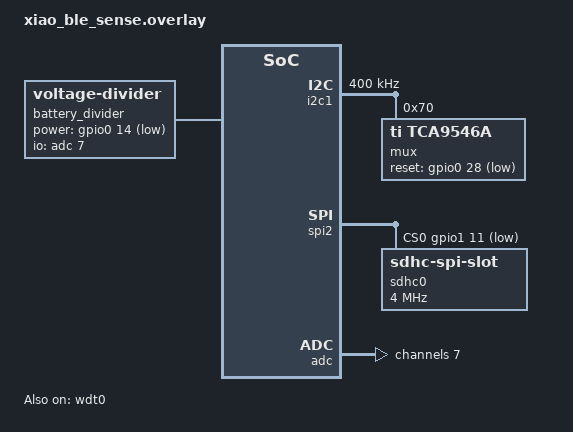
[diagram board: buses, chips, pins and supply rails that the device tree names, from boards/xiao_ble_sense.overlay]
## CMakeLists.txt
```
cmake_minimum_required(VERSION 3.20.0)

# Expose firmware-hub/dts/bindings/ so the maxim,max30102 binding is found.
# Must come before find_package(Zephyr).
list(APPEND DTS_ROOT ${CMAKE_CURRENT_SOURCE_DIR})

find_package(Zephyr REQUIRED HINTS $ENV{ZEPHYR_BASE})
project(physdaq_hub)

target_sources(app PRIVATE
    src/main.c
    src/led.c
    src/imu.c
    src/max30102.c
    src/ppg.c
    src/selftest.c
    src/storage.c
    src/power.c
    src/ble.c
    src/battery.c
    src/contact.c
    src/watchdog.c
    src/crashlog.c
    src/command.c
    src/satellites.c
)
```

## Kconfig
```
mainmenu "PhysDAQ Hub"

source "Kconfig.zephyr"

menu "PhysDAQ Hub"

config PHYSDAQ_PPG_ODR_HZ
	int "PPG sample rate per sensor (Hz)"
	default 100
	help
	  Sample rate programmed into both MAX30102 SPO2_CONFIG registers, and
	  recorded in the log file header so older samples in each FIFO burst
	  can be back-dated offline (see src/storage.h).

	  Only 50, 100, 200 and 400 are accepted. Those are the rates the part
	  permits in SpO2 mode at the 411 us / 18-bit pulse width this firmware
	  uses; other values are rejected at build time. 100 is the rate the
	  single-PPG firmware was validated at — treat anything higher as
	  unproven until a long run confirms the FIFOs keep up.

config PHYSDAQ_SD_SYNC_INTERVAL_MS
	int "Interval between forced filesystem syncs (ms)"
	default 1000
	range 100 10000
	help
	  Upper bound on how much data an ungraceful power loss can cost. The
	  storage thread calls fs_sync() at least this often, so at the default
	  1000 ms and 2 sensors at 100 Hz, a hard power cut loses at most one
	  second of acquisition (~200 samples, 3.2 kB).

	  Lowering this shrinks the loss window but costs an SD FAT+dirent
	  write each time, which is the operation most likely to stall the card
	  for tens of milliseconds.

config PHYSDAQ_DEEP_SLEEP
	bool "Enter deep sleep after an idle timeout"
	default n
	help
	  Single-PPG node behaviour: after PHYSDAQ_IDLE_TIMEOUT_SEC without
	  motion, skin contact or a BLE link, shut the sensors down and enter
	  System Off (~0.4 uA), waking on the IMU activity interrupt.

	  Off by default on the hub. A hub records unattended to microSD and is
	  routinely stationary and unworn on a bench, which is exactly the state
	  the idle timer treats as "put down" — it would power the node off
	  mid-session. Idle accounting still runs and is still reported on the
	  status line when this is disabled; only the System Off is suppressed.

config PHYSDAQ_IDLE_TIMEOUT_SEC
	int "Seconds of inactivity before deep sleep"
	default 10
	range 5 300
	help
	  Only acts when PHYSDAQ_DEEP_SLEEP is enabled. Counts consecutive
	  seconds without gyroscope motion, without IR contact (src/contact.c)
	  and without a BLE link — worn but still (e.g. resting) does not
	  trigger sleep, only set down and unworn does. Wake-up is the
	  LSM6DS3TR-C activity interrupt on INT1.

endmenu
```

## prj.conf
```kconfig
CONFIG_GPIO=y
CONFIG_SERIAL=y
CONFIG_UART_CONSOLE=y

CONFIG_I2C=y
CONFIG_SENSOR=y
CONFIG_LSM6DSL=y

# PCA9546A I2C mux on the upstream bus. Both MAX30102 are strapped to 0x57
# and cannot be readdressed, so each lives behind its own mux channel.
# The driver serialises (channel select + transfer) under its own mutex —
# see i2c_tca954x.c:tca954x_transfer(). Do not add a second lock on top.
CONFIG_I2C_TCA954X=y
# Both of these default to I2C_INIT_PRIORITY (50) in Zephyr 3.6, while
# i2c_tca954x.c carries a BUILD_ASSERT demanding CHANNEL > ROOT strictly. The
# upstream defaults therefore cannot compile as shipped, and every user has to
# separate them by hand. Root first, then the channels that depend on it.
CONFIG_I2C_TCA954X_ROOT_INIT_PRIO=50
CONFIG_I2C_TCA954X_CHANNEL_INIT_PRIO=51

# ── microSD (SPI) ────────────────────────────────────────────────────────
# SPI_SDHC is `default y` once the zephyr,sdhc-spi-slot node is enabled, and
# DISK_DRIVER_SDMMC is `default y` once zephyr,sdmmc-disk is; both are listed
# explicitly so a devicetree mistake fails the build instead of silently
# dropping storage.
CONFIG_SPI=y
CONFIG_SDHC=y
CONFIG_DISK_DRIVERS=y
CONFIG_DISK_DRIVER_SDMMC=y
CONFIG_FILE_SYSTEM=y
CONFIG_FAT_FILESYSTEM_ELM=y
CONFIG_FS_FATFS_LFN=y

# ── SD bring-up diagnostics — REMOVE once the card mounts reliably ───────
# disk_access_init() only reports a single errno. -EFAULT in particular comes
# from sdhc_spi.c:249 and means the card DID answer, with an R1 byte carrying
# PARAMETER_ERR or ADDRESS_ERR — so the link works and a specific command is
# being rejected. Which command, and the actual R1 value, only exist inside the
# driver's log calls.
# LOG_MODE_MINIMAL prints synchronously with no log thread or buffers, so
# nothing is lost when init fails early or the console is still enumerating.
CONFIG_LOG=y
CONFIG_LOG_MODE_MINIMAL=y
CONFIG_SDHC_LOG_LEVEL_DBG=y
CONFIG_SD_LOG_LEVEL_DBG=y

# ── Downlink command channel ─────────────────────────────────────────────
# The host sends "CMD ..." lines over the BLE RX characteristic (handled in
# ble.c) and over the USB console. The console needs an input path, which a
# printk-only build does not have: CONSOLE_GETLINE gives one, on the same CDC
# ACM device the diagnostics already print to.
CONFIG_CONSOLE_SUBSYS=y
CONFIG_CONSOLE_GETCHAR=y

# base64 for file download, CRC32 to verify what arrived.
CONFIG_BASE64=y

# ── Satellite roster persistence ─────────────────────────────────────────
# NVS on the board's storage_partition — 32 kB at 0xEC000, which
# xiao_ble_common.dtsi reserves for exactly this and which is clear of both the
# code partition and the UF2 bootloader.
CONFIG_FLASH=y
CONFIG_FLASH_MAP=y
CONFIG_FLASH_PAGE_LAYOUT=y
CONFIG_NVS=y

# ── PhysDAQ Hub ──────────────────────────────────────────────────────────
# PPG sample rate per sensor, written to SPO2_CONFIG and recorded in the log
# header. 100 Hz is the rate the single-PPG firmware was validated at.
CONFIG_PHYSDAQ_PPG_ODR_HZ=100

# Bound on data lost to an ungraceful power cut: at 1000 ms and 2 sensors at
# 100 Hz that is at most ~200 samples (3.2 kB).
CONFIG_PHYSDAQ_SD_SYNC_INTERVAL_MS=1000

# Deep sleep stays OFF on the hub. A hub records unattended and is routinely
# stationary and unworn on a bench — precisely the state the idle timer reads
# as "put down" — so System Off would cut a recording short. Idle accounting
# still runs and still appears on the status line.
CONFIG_PHYSDAQ_DEEP_SLEEP=n
CONFIG_PHYSDAQ_IDLE_TIMEOUT_SEC=10

# VBAT sense (P0.31/AIN7, gated by P0.14) — battery percentage status
CONFIG_ADC=y

# Hardware watchdog — auto-reset the SoC if the main loop hangs (e.g. a wedged
# I2C bus). Fed from the supervisor loop in src/main.c.
CONFIG_WATCHDOG=y
# crashlog.c overrides the fatal-error handler to record the fault in noinit
# RAM and reboot, instead of Zephyr's default halt-with-interrupts-locked that
# leaves the crash invisible and the watchdog to clean up 8 s later.
CONFIG_REBOOT=y
CONFIG_THREAD_NAME=y

# ── Threads and buffers ──────────────────────────────────────────────────
# One acquisition thread per PPG plus a storage thread. FATFS and the SD stack
# are stack-hungry, so the storage thread gets the largest allocation; its size
# is set in src/storage.c.
CONFIG_MAIN_STACK_SIZE=2048
CONFIG_SYSTEM_WORKQUEUE_STACK_SIZE=2048

# ── BLE ──────────────────────────────────────────────────────────────────
# NUS-compatible GATT service for wireless data streaming
# NUS service is implemented directly in src/ble.c using raw GATT macros
# (no CONFIG_BT_NUS dependency — that is NCS-only, not plain Zephyr).
CONFIG_BT=y
CONFIG_BT_PERIPHERAL=y
CONFIG_BT_DEVICE_NAME="PhysDAQ-Hub"
CONFIG_BT_MAX_CONN=1
# Every unit used to advertise the identical name, so a scan could not tell
# two nodes apart. ble.c appends a per-chip suffix at boot, which needs the
# name to be writable at runtime (DYNAMIC) and HWINFO for the factory device
# ID. The name is derived, not stored — no NVS is configured on this board.
CONFIG_BT_DEVICE_NAME_DYNAMIC=y
CONFIG_BT_DEVICE_NAME_MAX=24
CONFIG_HWINFO=y
# Allow MTU negotiation up to 247 bytes so a full data line fits in one notify.
# BT_GATT_CLIENT enables bt_gatt_exchange_mtu() — needed even on a peripheral.
CONFIG_BT_GATT_CLIENT=y
CONFIG_BT_L2CAP_TX_MTU=247
CONFIG_BT_BUF_ACL_TX_SIZE=251
CONFIG_BT_BUF_ACL_RX_SIZE=251
# The host buffers above are 251 B, but the *controller* defaults to 27 B LL
# packets, so every ~120 B line went out as five link-layer packets and
# saturated the link at Windows' 30 ms interval (lines dropped by ble_send).
# Data Length Extension lets one line ride in one packet.
CONFIG_BT_CTLR_DATA_LENGTH_MAX=251
# Deeper TX pools (default 3 each).
CONFIG_BT_BUF_ACL_TX_COUNT=6
CONFIG_BT_L2CAP_TX_BUF_COUNT=6
CONFIG_BT_CONN_TX_MAX=6
CONFIG_BT_ATT_TX_COUNT=6

# Radio TX power: +8 dBm (default is 0). A worn node's antenna is shadowed by
# the body, and 2.4 GHz body attenuation is severe — link fades were throttling
# throughput (visible as a slowdown in the app) and then tripping the
# supervision timeout. The extra margin rides through most fades.
CONFIG_BT_CTLR_TX_PWR_PLUS_8=y

# Preferred connection parameters, requested from the central ~5 s after
# connect (BT_GAP_AUTO_UPDATE_CONN_PARAMS). Windows' defaults pair a lazy
# interval with a ~2 s supervision timeout; we ask for a short interval
# (15–30 ms, headroom for ~25 Hz of ~120 B lines) and a 5 s timeout so a brief
# fade degrades throughput instead of killing the link. Best-effort — the
# central may reject.
#
# DISABLED, as on the node: the update was followed within a second by a
# crash on Windows every time. Left off until the failure is understood.
CONFIG_BT_GAP_AUTO_UPDATE_CONN_PARAMS=n
CONFIG_BT_PERIPHERAL_PREF_MIN_INT=12
CONFIG_BT_PERIPHERAL_PREF_MAX_INT=24
CONFIG_BT_PERIPHERAL_PREF_LATENCY=0
CONFIG_BT_PERIPHERAL_PREF_TIMEOUT=500
```

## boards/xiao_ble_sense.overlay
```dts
/*
 * XIAO BLE Sense overlay — PhysDAQ Hub (dual PPG + microSD)
 *
 * I2C0 @ 0x6A : LSM6DS3TR-C IMU   (internal bus, pinctrl SDA=P0.07, SCL=P0.27)
 * I2C1        : upstream bus      (D4/P0.04 SDA, D5/P0.05 SCL) -> PCA9546A @ 0x70
 *   ch1 @ 0x57 : MAX30102 #1,  INT -> D1 / P0.03   (pads labelled "2")
 *   ch2 @ 0x57 : MAX30102 #2,  INT -> D0 / P0.02   (pads labelled "3")
 * SPI2        : microSD BFF       (D8 SCK, D9 MISO, D10 MOSI, D6 CS)
 *
 * Bus instance note: the hand-off report states TWIM1 is the internal IMU bus
 * and TWIM0 is exposed on D4/D5. On this board it is the other way round —
 * xiao_ble-pinctrl.dtsi maps i2c0 to P0.07/P0.27 (where xiao_ble_sense.dts
 * places the LSM6DS3TR-C) and i2c1 to P0.04/P0.05, and the connector aliases
 * i2c1 as `xiao_i2c`. The physical pins in the report's pin map are correct;
 * only the peripheral label was swapped, so the mux goes on i2c1.
 *
 * Both MAX30102 are strapped to 0x57 and cannot be readdressed — that is the
 * entire reason the mux exists. Their INT lines bypass the mux and land on
 * plain GPIOs, so a sample-ready event can be timestamped the instant it fires
 * regardless of which channel is currently selected. Do not route them through
 * the mux.
 *
 * LED0 (P0.26 red), LED1 (P0.30 green), LED2 (P0.06 blue) come from
 * xiao_ble_common.dtsi and are not redefined here.
 */

#include <zephyr/dt-bindings/gpio/gpio.h>
#include <zephyr/dt-bindings/i2c/i2c.h>
#include <zephyr/dt-bindings/adc/adc.h>
#include <zephyr/dt-bindings/adc/nrf-adc.h>

/*
 * uart0 claims P1.11 (TX) and P1.12 (RX) in xiao_ble-pinctrl.dtsi, and P1.11
 * is now the microSD chip select. Two peripherals driving one pad is a silent
 * failure, so uart0 must release it. Nothing is lost: the console is the USB
 * CDC ACM port (zephyr,console in xiao_ble_common.dtsi), not this UART.
 */
&uart0 {
	status = "disabled";
};

/*
 * Upstream I2C. Raised to fast mode (400 kHz): every transaction now costs an
 * extra mux channel-select write, and two sensors share the bus, so the
 * standard-mode budget of the single-sensor firmware no longer holds.
 */
&i2c1 {
	status = "okay";
	clock-frequency = <I2C_BITRATE_FAST>;

	mux: tca9546a@70 {
		compatible = "ti,tca9546a";
		reg = <0x70>;
		#address-cells = <1>;
		#size-cells = <0>;
		reset-gpios = <&gpio0 28 GPIO_ACTIVE_LOW>;   /* D2 / P0.28 */
		status = "okay";

		/*
		 * Channel INDICES 1 and 2 are the populated ones. Channels 0
		 * and 3 are unused and left floating — no nodes.
		 *
		 * These are NOT the numbers on the breakout's silk screen. The
		 * hand-off report's section 4 says the sensors are on channels
		 * 2 and 3 because that is how the pads are labelled, but this
		 * board numbers its pads 1-4 while the part numbers its
		 * channels 0-3 — so the pads marked "SD2/SC2" and "SD3/SC3"
		 * are really indices 1 and 2. Measured, not assumed: the boot
		 * self-test walks all four channels and reports which ones
		 * answer at 0x57. Trust that output over the silk screen.
		 *
		 * The channel index is the `reg` value; i2c_tca954x.c converts
		 * it to the control-register bit with BIT(DT_REG_ADDR(node)),
		 * so reg = <1> selects 0x02 and reg = <2> selects 0x04.
		 */

		mux_ch1: tca9546a_ch1@1 {
			compatible = "ti,tca9546a-channel";
			reg = <1>;                 /* pads silkscreened "2" */
			#address-cells = <1>;
			#size-cells = <0>;
			status = "okay";

			ppg0: max30102@57 {
				compatible = "maxim,max30102";
				reg = <0x57>;
				/* P0.03 / D1, not P0.02: the boot self-test
				 * enables this channel's sensor alone and
				 * watches which line falls, and it is this
				 * one. The INT wiring is independent of the
				 * mux channel, so the pairing has to be
				 * measured — pairing it wrong still acquires
				 * cleanly, with every timestamp on the wrong
				 * site. */
				int-gpios = <&gpio0 3 (GPIO_ACTIVE_LOW | GPIO_PULL_UP)>;
				status = "okay";
			};
		};

		mux_ch2: tca9546a_ch2@2 {
			compatible = "ti,tca9546a-channel";
			reg = <2>;                 /* pads silkscreened "3" */
			#address-cells = <1>;
			#size-cells = <0>;
			status = "okay";

			ppg1: max30102@57 {
				compatible = "maxim,max30102";
				reg = <0x57>;
				int-gpios = <&gpio0 2 (GPIO_ACTIVE_LOW | GPIO_PULL_UP)>;
				status = "okay";
			};
		};
	};
};

/*
 * microSD BFF on SPI2. The board declares spi2 as "nordic,nrf-spi" (no
 * EasyDMA), which would service a 512-byte block one byte-interrupt at a time
 * and contend with the two PPG interrupts we are trying to timestamp
 * precisely. Overridden to "nordic,nrf-spim" so block transfers run from DMA.
 *
 * 4 MHz per the bring-up plan — the BFF is wired with discrete jumpers, which
 * is the least reliable part of this build. Raise only once the link is proven
 * stable over a long run.
 */
&spi2 {
	compatible = "nordic,nrf-spim";
	status = "okay";
	cs-gpios = <&gpio1 11 GPIO_ACTIVE_LOW>;   /* D6 / P1.11 */

	sdhc0: sdhc@0 {
		compatible = "zephyr,sdhc-spi-slot";
		reg = <0>;
		status = "okay";
		spi-max-frequency = <4000000>;

		/* No disk-name property here: zephyr,sdmmc-disk does not define
		 * one in Zephyr 3.6 (it includes sd-device.yaml -> base.yaml
		 * only). The volume name comes from CONFIG_SDMMC_VOLUME_NAME,
		 * which already defaults to "SD" when FAT_FILESYSTEM_ELM is on. */
		mmc {
			compatible = "zephyr,sdmmc-disk";
			status = "okay";
		};
	};
};

/*
 * VBAT sense circuit (Seeed XIAO nRF52840 Sense hardware, not in the
 * connector pin map): 1M / 510k divider to AIN7 (P0.31), gated by the
 * active-low P0.14 read-enable pin. P0.14 LOW connects the divider; HIGH
 * disconnects it. The pin is therefore driven LOW only while sampling and
 * left HIGH the rest of the time, so the divider does not draw its ~2 uA
 * continuously. GPIO_ACTIVE_LOW below is what makes battery.c's logical
 * "1 = sampling" come out as a physical LOW.
 */
/ {
	battery_divider: battery-divider {
		compatible = "voltage-divider";
		io-channels = <&adc 7>;
		output-ohms = <510000>;
		full-ohms = <(1000000 + 510000)>;
		power-gpios = <&gpio0 14 GPIO_ACTIVE_LOW>;
	};
};

/* Hardware watchdog — last-resort recovery if the main loop ever hangs
 * (see src/watchdog.c). Usually already enabled on nRF52840, but make it
 * explicit so the build never silently drops the WDT. */
&wdt0 {
	status = "okay";
};

&adc {
	#address-cells = <1>;
	#size-cells = <0>;

	channel@7 {
		reg = <7>;
		zephyr,gain = "ADC_GAIN_1_6";
		zephyr,reference = "ADC_REF_INTERNAL";
		zephyr,acquisition-time = <ADC_ACQ_TIME_DEFAULT>;
		zephyr,input-positive = <NRF_SAADC_AIN7>;
		zephyr,resolution = <12>;
	};
};
```

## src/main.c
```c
#include <zephyr/kernel.h>
#include <zephyr/sys/printk.h>
#include <zephyr/drivers/sensor.h>
#include "imu.h"
#include "ppg.h"
#include "storage.h"
#include "power.h"
#include "ble.h"
#include "battery.h"
#include "contact.h"
#include "watchdog.h"
#include "selftest.h"
#include "version.h"
#include "command.h"
#include "satellites.h"
#include "crashlog.h"

/* Format a sensor_value (val1 + val2/1e6) as "±integer.milli" using printk.
 * Mirrors the print_val helper in imu.c, kept local to avoid coupling. */
#define SV_SIGN(v)  (((v)->val1 < 0 || (v)->val2 < 0) ? "-" : "")
#define SV_INT(v)   ((v)->val1 < 0 ? -(v)->val1 : (v)->val1)
#define SV_MILLI(v) (((v)->val2 < 0 ? -(v)->val2 : (v)->val2) / 1000)

/* Supervisor cadence. Acquisition and storage run on their own threads now, so
 * this loop only has to service the things that are inherently periodic: the
 * watchdog, the IMU, the BLE stream and the status lines. 40 ms lands it on
 * the same ~25 Hz the BLE link is rate-limited to. */
#define SUPERVISOR_PERIOD_MS  40
#define HUB_STATUS_INTERVAL_MS  5000

/* How often to re-run the bus diagnostics while nothing is acquiring.
 *
 * The console is a USB CDC ACM port, so it does not exist yet while the board
 * is booting — by the time a terminal can attach, the boot output is long
 * gone. That makes a once-at-boot diagnostic useless in exactly the situation
 * it was written for. Repeating it while the board is broken means you can
 * attach whenever and still get the verdict. */
#define DIAG_INTERVAL_MS  10000

/* Set once acquisition threads are running — used only for the uptime display. */
static int64_t acq_start_ms;

/*
 * Per-sensor rate in tenths of a hertz, measured over the last status interval
 * rather than since acquisition began.
 *
 * A since-start average is contaminated by a fixed head start: each sensor's
 * 32-deep FIFO is already filling while the *other* sensor's init runs, and a
 * failing init burns hundreds of milliseconds of retries. That showed up as a
 * rate reading a few percent high and slowly decaying, which looks exactly
 * like a real drift and is not one. A windowed rate has no such offset, and it
 * also surfaces a sensor that degrades mid-session — which a since-start
 * average would bury under all the healthy minutes before it.
 *
 * This is the number that says whether a sensor runs at the configured ODR.
 * "It produces samples" is not "it produces them at 100 Hz", and a low rate is
 * sample loss even when the overflow counter is clean.
 */
static uint32_t windowed_dhz(uint8_t idx, uint32_t samples, int64_t now_ms)
{
	static uint32_t prev_samples[PPG_SENSOR_COUNT];
	static int64_t  prev_ms[PPG_SENSOR_COUNT];

	if (idx >= PPG_SENSOR_COUNT) {
		return 0;
	}

	int64_t  dt = now_ms - prev_ms[idx];
	uint32_t dn = samples - prev_samples[idx];   /* wraps correctly */

	prev_samples[idx] = samples;
	prev_ms[idx]      = now_ms;

	if (dt < 1000) {
		return 0;   /* window too short to mean anything */
	}
	return (uint32_t)(((uint64_t)dn * 10000) / (uint64_t)dt);
}

static void send_hub_status(void)
{
	struct ppg_live      s0, s1;
	struct storage_stats st;

	ppg_get_live(0, &s0);
	ppg_get_live(1, &s1);
	storage_get_stats(&st);

	int64_t  now_ms = k_uptime_get();
	uint32_t d0 = windowed_dhz(0, s0.samples, now_ms);
	uint32_t d1 = windowed_dhz(1, s1.samples, now_ms);
	uint32_t up_s = (uint32_t)((now_ms - acq_start_ms) / 1000);

	/* Deliberately does NOT start with "PPG". bridge.py matches the sample
	 * line with re.search(r'PPG\s+red=...') and silently discards any other
	 * line beginning with those three characters, so a status line prefixed
	 * "PPG..." would vanish without trace. The same rule governs every
	 * reply in command.c. */
	/* 256, not 224: `open=` and `sat=n/N` were added after the original
	 * sizing and the line was already close to full. */
	char line[256];
	int n = snprintk(line, sizeof(line),
		"Hub: up=%us | s0 %s n=%u %u.%uHz ovf=%u ri=%u ir=%u | "
		"s1 %s n=%u %u.%uHz ovf=%u ri=%u ir=%u | "
		"sd sess=%u open=%u w=%u drop=%u sync=%u err=%u qmax=%u "
		"sat=%u/%u\n",
		up_s,
		s0.alive ? "ok" : "DEAD", s0.samples, d0 / 10, d0 % 10,
		s0.overflows, s0.reinits, s0.ir,
		s1.alive ? "ok" : "DEAD", s1.samples, d1 / 10, d1 % 10,
		s1.overflows, s1.reinits, s1.ir,
		st.session_id, storage_session_is_open() ? 1U : 0U,
		st.records_written, st.records_dropped,
		st.syncs, st.write_errors, st.max_queue_used,
		satellites_count(), SATELLITES_MAX);

	printk("%s", line);
	ble_send((const uint8_t *)line, n);
}

int main(void)
{
	/* Before anything else: captures the previous boot's crash/hang record
	 * and the reset cause while nothing has had a chance to clobber them. */
	crashlog_init();

	/* Bus self-test first, before anything that depends on the bus. On a
	 * hand-wired prototype the difference between "the mux is missing" and
	 * "the sensor behind the mux is missing" is the difference between two
	 * completely different repairs, and an -EIO out of max30102_init()
	 * cannot tell them apart. */
	selftest_run();

	if (imu_init() < 0) {
		printk("IMU init failed — continuing without motion data\n");
	}

	/* Storage first: it anchors the session clock, and the acquisition
	 * threads read that epoch once when they start. Starting them earlier
	 * would date every record against an epoch of zero. */
	bool logging = (storage_init() == 0);

	if (!logging) {
		printk("Storage init failed — acquisition will run but NOTHING "
		       "WILL BE RECORDED. Check the card and reboot.\n");
	}

	bool acquiring = (ppg_init() == 0);

	acq_start_ms = k_uptime_get();

	if (!acquiring) {
		/* Deliberately not a halt. The single-PPG firmware returned
		 * here, which kills the console output too — on a prototype
		 * being wired up, staying alive so the self-test result and the
		 * periodic status line stay readable is worth far more than
		 * exiting cleanly. */
		printk("No PPG sensor available — staying up so the self-test "
		       "output above remains readable. Fix the wiring and "
		       "reset.\n");
	}

	if (battery_init() < 0) {
		printk("Battery ADC init failed — continuing without battery "
		       "status\n");
	}

	contact_init();
	power_init();

	if (ble_init() < 0) {
		printk("BLE init failed — running USB-only\n");
	}

	/* Roster before the command thread, so a "sat.list" arriving in the
	 * first milliseconds answers with what is actually stored rather than
	 * with an empty list. A failure here is not fatal: the roster still
	 * works for this boot, it just will not survive a reset. */
	if (satellites_init() < 0) {
		printk("Satellites: roster will not persist across reboots\n");
	}

	command_init();

	/* Arm the watchdog only after all (potentially slow) init has finished,
	 * so init delays can never trip it. From here on, this loop must feed
	 * it. Note the scope change from the single-PPG firmware: the watchdog
	 * now guards the supervisor, not acquisition. A wedged sensor is
	 * handled by the per-sensor stall recovery in ppg.c, which is the right
	 * place for it — resetting the whole SoC would close the session file. */
	watchdog_init();

	printk("\n=== PhysDAQ Hub: dual PPG + microSD ===\n");
	/* Mux channels 1 and 2, which the breakout silk-screens "2" and "3".
	 * The banner used the silk-screen numbers; every other message and all
	 * of the docs use the channel indices, so it read as a third pair. */
	printk("PPG: 2× MAX30102 behind PCA9546A ch1/ch2, SpO2 %d Hz, 18-bit\n",
	       CONFIG_PHYSDAQ_PPG_ODR_HZ);
	printk("IMU: accel [m/s^2], gyro [rad/s]\n");
	printk("Time base: k_uptime_ticks() @ %d Hz (%d us), captured in ISR\n",
	       CONFIG_SYS_CLOCK_TICKS_PER_SEC,
	       1000000 / CONFIG_SYS_CLOCK_TICKS_PER_SEC);
	printk("Storage: %s\n", logging ? "active" : "UNAVAILABLE");
	printk("BLE: NUS advertising\n");
	printk("Deep sleep: %s\n",
	       IS_ENABLED(CONFIG_PHYSDAQ_DEEP_SLEEP) ? "enabled" : "disabled");
	printk("\n");

	command_send_identity();

	int64_t last_status_ms = k_uptime_get();
	int64_t last_diag_ms   = k_uptime_get();

	while (1) {
		/* Feed the watchdog once per iteration. The loop turns over
		 * every SUPERVISOR_PERIOD_MS, so if anything below hangs the
		 * feeds stop and the SoC resets itself within the WDT window
		 * instead of freezing indefinitely. */
		watchdog_feed();

		/* Rising edge of the BLE link: a central that just connected
		 * has not seen the boot copy of the identity line. */
		static bool was_linked;
		bool linked = ble_is_connected();
		if (linked && !was_linked) {
			command_send_identity();
		}
		was_linked = linked;

		struct imu_sample imu;
		bool have_imu = (imu_fetch_sample(&imu) == 0);

		struct ppg_live s0, s1;
		ppg_get_live(0, &s0);
		ppg_get_live(1, &s1);

		if (have_imu) {
			/* The single-PPG line format, extended with a
			 * "| PPG1 red=… ir=…" section for sensor 1.
			 *
			 * Deliberately one line, not two. bridge.py matches the
			 * sample with re.search(r'PPG\s+red=…'), so this
			 * still matches on sensor 0 and an un-updated bridge
			 * keeps working — while a *separate* line beginning
			 * "PPG1" would be silently discarded by the same code
			 * path, which drops any unmatched line starting with
			 * "PPG". Keeping both sensors in one message also gives
			 * the pair a single arrival timestamp, so the host
			 * cannot desynchronise the two channels.
			 *
			 * 192 bytes, not 160: the PPG1 section adds up to ~28 B
			 * and the old buffer left no room for it. */
			char line[192];
			int n = snprintk(line, sizeof(line),
				"PPG red=%u ir=%u | PPG1 red=%u ir=%u | IMU "
				"ax=%s%d.%03d ay=%s%d.%03d az=%s%d.%03d "
				"gx=%s%d.%03d gy=%s%d.%03d gz=%s%d.%03d\n",
				s0.red, s0.ir, s1.red, s1.ir,
				SV_SIGN(&imu.accel[0]), SV_INT(&imu.accel[0]), SV_MILLI(&imu.accel[0]),
				SV_SIGN(&imu.accel[1]), SV_INT(&imu.accel[1]), SV_MILLI(&imu.accel[1]),
				SV_SIGN(&imu.accel[2]), SV_INT(&imu.accel[2]), SV_MILLI(&imu.accel[2]),
				SV_SIGN(&imu.gyro[0]),  SV_INT(&imu.gyro[0]),  SV_MILLI(&imu.gyro[0]),
				SV_SIGN(&imu.gyro[1]),  SV_INT(&imu.gyro[1]),  SV_MILLI(&imu.gyro[1]),
				SV_SIGN(&imu.gyro[2]),  SV_INT(&imu.gyro[2]),  SV_MILLI(&imu.gyro[2]));

			/* One notification per loop, i.e. ~25 Hz. The link
			 * carries ~4 kB/s; the raw 100 Hz × 2 sensor stream
			 * would be several times that and would overflow the TX
			 * queue. The SD file is the record of truth — BLE is
			 * only a live view. */
			ble_send((const uint8_t *)line, n);

			contact_update(s0.ir);
			power_update(imu.gyro);
		}

		/* Internally rate-limited to once every 5 s — cheap to call
		 * every iteration. */
		uint8_t batt_pct;
		int32_t batt_mv;
		if (battery_poll(&batt_pct, &batt_mv) == 0) {
			char batt_line[48];
			int batt_n = snprintk(batt_line, sizeof(batt_line),
				"Battery: %u%% (%d mV)\n", batt_pct, batt_mv);
			printk("%s", batt_line);
			ble_send((const uint8_t *)batt_line, batt_n);
		}

		int64_t now = k_uptime_get();
		if (now - last_status_ms >= HUB_STATUS_INTERVAL_MS) {
			last_status_ms = now;
			send_hub_status();
		}

		/* While nothing is acquiring, keep re-running the diagnostics
		 * so they are readable whenever a terminal attaches.
		 *
		 * Gated strictly on `acquiring`, which is false only when
		 * ppg_init() started no threads at all. That matters: the
		 * self-test writes the mux control register directly, behind
		 * the tca954x driver's back, and doing that while an
		 * acquisition thread is mid-transfer would corrupt it. With no
		 * threads running, the bus is ours alone. */
		if (!acquiring && now - last_diag_ms >= DIAG_INTERVAL_MS) {
			last_diag_ms = now;

			if (!logging) {
				printk("\nStorage: still unavailable "
				       "(last error %d)\n",
				       storage_last_error());
			}
			selftest_run();
		}

		k_sleep(K_MSEC(SUPERVISOR_PERIOD_MS));
	}

	return 0;
}
```

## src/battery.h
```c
#ifndef BATTERY_H
#define BATTERY_H

#include <stdint.h>

/* Configure the VBAT ADC channel (AIN7) and the read-enable GPIO (P0.14).
 * Returns 0 on success, negative errno on failure. */
int battery_init(void);

/* Rate-limited battery sample: internally samples VBAT at most once every
 * 5 s, toggling the P0.14 read-enable gate only for the duration of the
 * read (leaving it enabled drains the battery — see Seeed forum report of
 * increased sleep current).
 * On a fresh sample, fills *out_percent and *out_mv and returns 0.
 * Returns -EAGAIN if the interval hasn't elapsed yet, or a negative errno
 * on ADC failure. */
int battery_poll(uint8_t *out_percent, int32_t *out_mv);

#endif /* BATTERY_H */
```

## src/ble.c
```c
#include <zephyr/kernel.h>
#include <zephyr/bluetooth/bluetooth.h>
#include <zephyr/bluetooth/conn.h>
#include <zephyr/bluetooth/uuid.h>
#include <zephyr/bluetooth/gatt.h>
#include <zephyr/sys/util.h>
#include <zephyr/sys/printk.h>
#include <zephyr/drivers/hwinfo.h>
#include <string.h>
#include "ble.h"
#include "ppg.h"
#include "command.h"

/* NUS-compatible UUIDs — identical to Nordic UART Service, so any NUS
 * client (bleak, nRF Connect app) works without any extra configuration. */
#define BT_UUID_NUS_SERVICE_VAL \
	BT_UUID_128_ENCODE(0x6e400001, 0xb5a3, 0xf393, 0xe0a9, 0xe50e24dcca9e)
#define BT_UUID_NUS_TX_VAL \
	BT_UUID_128_ENCODE(0x6e400003, 0xb5a3, 0xf393, 0xe0a9, 0xe50e24dcca9e)
#define BT_UUID_NUS_RX_VAL \
	BT_UUID_128_ENCODE(0x6e400002, 0xb5a3, 0xf393, 0xe0a9, 0xe50e24dcca9e)

#define BT_UUID_NUS_SERVICE BT_UUID_DECLARE_128(BT_UUID_NUS_SERVICE_VAL)
#define BT_UUID_NUS_TX      BT_UUID_DECLARE_128(BT_UUID_NUS_TX_VAL)
#define BT_UUID_NUS_RX      BT_UUID_DECLARE_128(BT_UUID_NUS_RX_VAL)

/* One queued line is at most a full sample line (main.c formats into 160 B).
 * Depth: at ~25 Hz a line every 40 ms, 16 slots is ~0.6 s of back-pressure
 * before lines start being dropped — enough to ride through a short fade
 * without growing an unbounded backlog of stale samples. */
#define TX_MSG_MAX       160
#define TX_QUEUE_DEPTH   16
#define TX_THREAD_STACK  2048
/* Below main (0): the acquisition loop always wins the CPU. */
#define TX_THREAD_PRIO   7

struct tx_msg {
	uint16_t len;
	uint8_t  data[TX_MSG_MAX];
};

K_MSGQ_DEFINE(tx_q, sizeof(struct tx_msg), TX_QUEUE_DEPTH, 4);


static struct bt_conn              *current_conn;
static bool                         notify_enabled;
static struct bt_gatt_exchange_params mtu_params;

static void tx_ccc_changed(const struct bt_gatt_attr *attr, uint16_t value)
{
	notify_enabled = (value == BT_GATT_CCC_NOTIFY);
}

static ssize_t on_rx_write(struct bt_conn *conn,
			   const struct bt_gatt_attr *attr,
			   const void *buf, uint16_t len,
			   uint16_t offset, uint8_t flags)
{
	ARG_UNUSED(conn); ARG_UNUSED(attr);
	ARG_UNUSED(offset); ARG_UNUSED(flags);

	/* Hand the bytes straight to the command module, which assembles lines
	 * and queues complete ones. Nothing here parses or touches the file
	 * system: this runs in the BLE stack's context, where blocking on a
	 * card doing wear-levelling would stall the radio. */
	command_feed((const uint8_t *)buf, len);
	return len;
}

/* GATT service attribute table.  Indices matter for ble_send():
 * [0] Primary service
 * [1] TX characteristic declaration
 * [2] TX characteristic value  ← bt_gatt_notify() target
 * [3] TX CCC descriptor        (subscribe/unsubscribe)
 * [4] RX characteristic declaration
 * [5] RX characteristic value  */
BT_GATT_SERVICE_DEFINE(nus_svc,
	BT_GATT_PRIMARY_SERVICE(BT_UUID_NUS_SERVICE),

	BT_GATT_CHARACTERISTIC(BT_UUID_NUS_TX,
			       BT_GATT_CHRC_NOTIFY,
			       BT_GATT_PERM_NONE,
			       NULL, NULL, NULL),
	BT_GATT_CCC(tx_ccc_changed,
		    BT_GATT_PERM_READ | BT_GATT_PERM_WRITE),

	BT_GATT_CHARACTERISTIC(BT_UUID_NUS_RX,
			       BT_GATT_CHRC_WRITE_WITHOUT_RESP,
			       BT_GATT_PERM_WRITE,
			       NULL, on_rx_write, NULL),
);

/* Advertising payload.
 *
 * The NUS service UUID is here so a scanner can filter on it — that is how
 * discovery works and the only thing it keys on.
 *
 * The manufacturer-specific field carries the device class. Company ID 0xFFFF
 * is the Bluetooth SIG's reserved "no company / local use" value, which is
 * what this is: a private hint, not an assigned identifier. bleak strips the
 * company ID and hands the host the rest:
 *
 *   [0] AD protocol version
 *   [1] device type   (PHYSDAQ_DEV_TYPE_*)
 *   [2] PPG channel count
 *   [3] capability flags (PHYSDAQ_DEV_FLAG_*)
 *
 * It is a *hint for the scan list only* — it lets the desktop app label an
 * entry as a hub before connecting. Discovery still filters on the service
 * UUID and never on this field or on the name, and once connected the ID line
 * is the authority. The ID line is also the only one of the two that exists on
 * USB, which has no advertising at all.
 *
 * Size: 3 (flags) + 18 (128-bit UUID) + 8 (manufacturer data) = 29 of the 31
 * bytes an advertising payload allows. The name goes in the scan response, not
 * here; adding anything further needs that arithmetic redone.
 */
static const struct bt_data ad[] = {
	BT_DATA_BYTES(BT_DATA_FLAGS,
		      (BT_LE_AD_GENERAL | BT_LE_AD_NO_BREDR)),
	BT_DATA_BYTES(BT_DATA_UUID128_ALL, BT_UUID_NUS_SERVICE_VAL),
	BT_DATA_BYTES(BT_DATA_MANUFACTURER_DATA,
		      0xFF, 0xFF,
		      PHYSDAQ_AD_PROTO_VERSION,
		      PHYSDAQ_DEV_TYPE_HUB,
		      PPG_SENSOR_COUNT,
		      PHYSDAQ_DEV_FLAG_SD),
};

/* Filled in by set_unique_name() before advertising starts. Not const, and not
 * built from CONFIG_BT_DEVICE_NAME directly: the name carries a per-chip suffix
 * that is only known at runtime. */
static char             adv_name[CONFIG_BT_DEVICE_NAME_MAX + 1];
static struct bt_data   sd[1];

/* Append a suffix from the factory device ID, so two nodes are distinguishable
 * in a scan. Derived rather than stored — this board has no NVS configured, and
 * the ID is stable across reboots and reflashes because it is burned into FICR.
 * Falls back to the plain configured name if hwinfo is unavailable, which costs
 * uniqueness but never prevents the node from advertising. */
static void set_unique_name(void)
{
	uint8_t id[8];
	ssize_t len = hwinfo_get_device_id(id, sizeof(id));

	if (len >= 2) {
		snprintk(adv_name, sizeof(adv_name), "%s-%02X%02X",
			 CONFIG_BT_DEVICE_NAME, id[len - 2], id[len - 1]);
	} else {
		snprintk(adv_name, sizeof(adv_name), "%s", CONFIG_BT_DEVICE_NAME);
	}

	int err = bt_set_name(adv_name);
	if (err) {
		printk("BLE: could not set name \"%s\" (%d)\n", adv_name, err);
	}

	/* Advertise whatever the stack actually accepted, which may have been
	 * truncated to CONFIG_BT_DEVICE_NAME_MAX. */
	const char *name = bt_get_name();
	sd[0] = (struct bt_data)BT_DATA(BT_DATA_NAME_COMPLETE, name, strlen(name));
}

static void mtu_exchanged(struct bt_conn *conn, uint8_t err,
			  struct bt_gatt_exchange_params *params)
{
	/* Log negotiated MTU so we can confirm payload capacity in make term */
	printk("BLE: MTU %u bytes (%u payload)\n",
	       bt_gatt_get_mtu(conn), bt_gatt_get_mtu(conn) - 3);
}

static void on_connected(struct bt_conn *conn, uint8_t err)
{
	if (err) {
		return;
	}
	current_conn = bt_conn_ref(conn);

	/* Request larger ATT MTU so a full data line (~120 B) fits in one notify.
	 * Default ATT MTU = 23 B → 20 B payload, which is far too small.
	 * Requesting from both sides ensures negotiation even if the central
	 * (bleak) doesn't initiate it first. */
	mtu_params.func = mtu_exchanged;
	bt_gatt_exchange_mtu(conn, &mtu_params);

	printk("BLE: connected\n");
}

static void on_disconnected(struct bt_conn *conn, uint8_t reason)
{
	if (current_conn) {
		bt_conn_unref(current_conn);
		current_conn   = NULL;
		notify_enabled = false;
	}
	/* Whatever is queued was meant for this link; a new host should not
	 * start with a burst of stale samples. */
	k_msgq_purge(&tx_q);
	bt_le_adv_start(BT_LE_ADV_CONN, ad, ARRAY_SIZE(ad), sd, ARRAY_SIZE(sd));
	printk("BLE: disconnected (reason %u) — advertising\n", reason);
}

/* Log what the central actually granted after the preferred-parameter
 * request (prj.conf BT_PERIPHERAL_PREF_*). The timeout matters most: with
 * Windows' short default, a radio fade kills the link instead of just
 * degrading it — this line is the way to confirm the 5 s request stuck. */
static void on_param_updated(struct bt_conn *conn, uint16_t interval,
			     uint16_t latency, uint16_t timeout)
{
	printk("BLE: conn params: interval %u ms, latency %u, timeout %u ms\n",
	       (unsigned int)(interval * 125U / 100U), latency, timeout * 10U);
}

BT_CONN_CB_DEFINE(conn_cbs) = {
	.connected        = on_connected,
	.disconnected     = on_disconnected,
	.le_param_updated = on_param_updated,
};

int ble_init(void)
{
	int err = bt_enable(NULL);
	if (err) {
		printk("BLE: enable failed (%d)\n", err);
		return err;
	}

	/* After bt_enable(): bt_set_name() needs the stack up. */
	set_unique_name();

	err = bt_le_adv_start(BT_LE_ADV_CONN, ad, ARRAY_SIZE(ad),
			      sd, ARRAY_SIZE(sd));
	if (err) {
		printk("BLE: advertising start failed (%d)\n", err);
		return err;
	}

	printk("BLE: advertising as \"%s\" (NUS UUID)\n", bt_get_name());
	return 0;
}

/* BLE transmit path.
 *
 * bt_gatt_notify() is not the fire-and-forget call it looks like. For a
 * notification the host stack allocates the ATT PDU with K_FOREVER
 * (zephyr/subsys/bluetooth/host/att.c, bt_att_chan_create_pdu), so once the
 * ACL TX buffers are exhausted — a radio fade, a central that stops acking,
 * an MTU still at 23 B turning each line into six packets — the caller sleeps
 * until a buffer frees, which can be never. Called from main(), that sleep
 * starved the watchdog: a node streaming perfectly over USB reset itself 8 s
 * after the link degraded, with no message on either transport, and the host
 * saw it as a random disconnection (Boot: cause=watchdog on the next link).
 *
 * So main() never calls bt_gatt_notify(). ble_send() copies the line into a
 * bounded message queue with K_NO_WAIT and drops it if the queue is full;
 * a dedicated low-priority thread drains the queue and is the only thing that
 * ever blocks on the radio. Losing lines under back-pressure is the intended
 * behaviour — the link is rate-limited to ~25 Hz in main.c precisely because
 * the display does not need every sample — and a stuck TX thread costs
 * nothing but those lines until the link drops and the buffers come back. */
static uint32_t tx_dropped;

static void tx_thread(void *a, void *b, void *c)
{
	ARG_UNUSED(a); ARG_UNUSED(b); ARG_UNUSED(c);
	struct tx_msg msg;

	while (1) {
		k_msgq_get(&tx_q, &msg, K_FOREVER);

		/* Re-check here, not only in ble_send(): the link may have gone
		 * away while the message sat in the queue. */
		struct bt_conn *conn = current_conn;
		if (!conn || !notify_enabled) {
			continue;
		}

		uint16_t payload = bt_gatt_get_mtu(conn) - 3;
		/* Clamp in case MTU not yet negotiated or returns an odd value */
		if (payload < 20 || payload > 244) {
			payload = 20;
		}

		size_t offset = 0;
		while (offset < msg.len) {
			size_t chunk = MIN(payload, msg.len - offset);
			/* May block — that is this thread's job. -ENOTCONN or
			 * -ENOMEM: drop the rest of the line, never retry. */
			if (bt_gatt_notify(conn, &nus_svc.attrs[2],
					   msg.data + offset, chunk)) {
				break;
			}
			offset += chunk;
		}
	}
}

K_THREAD_DEFINE(ble_tx, TX_THREAD_STACK, tx_thread, NULL, NULL, NULL,
		TX_THREAD_PRIO, 0, 0);

void ble_send(const uint8_t *data, size_t len)
{
	if (!current_conn || !notify_enabled) {
		return;
	}

	struct tx_msg msg;
	msg.len = MIN(len, sizeof(msg.data));
	memcpy(msg.data, data, msg.len);

	if (k_msgq_put(&tx_q, &msg, K_NO_WAIT) != 0) {
		tx_dropped++;
	}
}

uint32_t ble_tx_dropped(void)
{
	return tx_dropped;
}

bool ble_is_connected(void)
{
	return current_conn != NULL;
}

const char *ble_device_name(void)
{
	/* bt_get_name(), not adv_name: the stack may have truncated the name to
	 * CONFIG_BT_DEVICE_NAME_MAX, and what is advertised is what it kept.
	 * adv_name is only the "has set_unique_name() run yet" flag here —
	 * before it has, bt_get_name() would hand back CONFIG_BT_DEVICE_NAME
	 * with no per-chip suffix, which is a name no node ever advertises. */
	return adv_name[0] ? bt_get_name() : "";
}

void ble_stop(void)
{
	bt_le_adv_stop();
	if (current_conn) {
		bt_conn_disconnect(current_conn,
				   BT_HCI_ERR_REMOTE_USER_TERM_CONN);
		k_sleep(K_MSEC(150));
	}
}
```

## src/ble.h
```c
#ifndef BLE_H
#define BLE_H

#include <stdbool.h>
#include <stddef.h>
#include <stdint.h>

/* Start BLE stack, register NUS service, begin advertising.
 * Advertises by NUS service UUID so the PC script can discover by UUID.
 * Returns 0 on success, negative errno on failure. */
int ble_init(void);

/* Queue data for the connected BLE central (PC). Never blocks: copies the
 * line into a bounded queue drained by a dedicated TX thread, and drops it
 * when no central is subscribed or the queue is full. See the comment above
 * tx_thread() in ble.c for why the caller must never touch the radio. */
void ble_send(const uint8_t *data, size_t len);

/* Lines dropped by ble_send() because the TX queue was full — a growing
 * number is the "link is degrading" signal. */
uint32_t ble_tx_dropped(void);

/* True while a central (PC) holds a connection. Used by the power
 * manager: an active link means a live acquisition session, which must
 * hold off the idle deep-sleep timer. */
bool ble_is_connected(void);

/* Version of the host-facing identification protocol: the manufacturer-specific
 * AD payload and the ID line. Bump when either layout changes; a host that
 * reads a version it does not know falls back to "single-PPG node", which is
 * what everything was before this existed. */
#define PHYSDAQ_AD_PROTO_VERSION  0x02

/* Device class, advertised in the manufacturer-specific AD field and repeated
 * in the ID line the supervisor emits. A host that has only seen an
 * advertisement needs to know how many PPG channels to expect before it
 * connects; after connecting, the ID line is what actually decides. */
#define PHYSDAQ_DEV_TYPE_NODE  0x01
#define PHYSDAQ_DEV_TYPE_HUB   0x02

/* Bit flags in the AD payload and the ID line. */
#define PHYSDAQ_DEV_FLAG_SD    (1U << 0)   /* has removable storage */

/* Advertised name, e.g. "PhysDAQ-Hub-FDF9". Empty string before ble_init(). */
const char *ble_device_name(void);

/* Disconnect any active connection and stop advertising.
 * Must be called before entering deep sleep so the BLE controller
 * is idle when nrf_power_system_off() is invoked. */
void ble_stop(void);

#endif /* BLE_H */
```

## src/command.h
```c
#ifndef COMMAND_H
#define COMMAND_H

#include <stddef.h>
#include <stdint.h>

/*
 * Downlink command channel.
 *
 * The host sends newline-terminated ASCII lines; the hub answers with
 * newline-terminated ASCII lines on the same transports it already streams
 * over. Both directions are text for the same reason the sample stream is:
 * one format works over BLE and USB alike, and it is readable in a terminal
 * when something goes wrong.
 *
 * Requests, all prefixed "CMD ":
 *
 *   CMD id                      re-send the identity line
 *   CMD sd.stat                 card usage and session state
 *   CMD sd.list                 enumerate session files
 *   CMD sd.del <name>           delete one session file
 *   CMD sd.format               delete every session file
 *   CMD rec.start               open the next session file
 *   CMD rec.stop                close the current session file
 *   CMD sd.get <name> [offset]  stream a session file back, base64
 *   CMD sd.abort                stop an in-flight sd.get
 *   CMD sat.list                list configured satellites
 *   CMD sat.add <addr> [label]  remember a satellite
 *   CMD sat.del <addr>          forget one
 *   CMD sat.clear               forget all
 *
 * Replies are documented in docs/protocol.md. None of them begins with "PPG",
 * which matters: the host parser discards any unmatched line starting with
 * those three characters.
 */

/* Start the command thread. Safe to call whether or not a card mounted —
 * storage commands answer with an error rather than going missing. */
int command_init(void);

/* Emit the identity line on both transports. Lives here rather than in main.c
 * because it is part of the host protocol this module owns, and because "CMD
 * id" has to be able to re-send it on demand. */
void command_send_identity(void);

/* Feed bytes arriving from a transport. Called from the BLE write callback and
 * from the console reader; assembles lines and queues the complete ones.
 * Never blocks, and never touches the file system. */
void command_feed(const uint8_t *data, size_t len);

#endif /* COMMAND_H */
```

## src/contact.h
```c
#ifndef CONTACT_H
#define CONTACT_H

#include <stdint.h>
#include <stdbool.h>

/* Reset internal filter state. Call once at startup. */
void contact_init(void);

/* Feed one new IR sample — call once per PPG sample (same cadence as
 * max30102_fetch()). Updates the DC-level estimate. */
void contact_update(uint32_t ir_sample);

/* True when the IR DC level indicates something is on the sensor — see
 * CONTACT_DC_MIN in contact.c. DC-only: no heartbeat validation, so an
 * inert reflective surface at the right distance could also read true. */
bool contact_is_skin(void);

/* Diagnostic snapshot for the periodic status line. */
struct contact_debug {
	float dc;  /* raw IR DC estimate (counts) */
};
void contact_get_debug(struct contact_debug *out);

#endif /* CONTACT_H */
```

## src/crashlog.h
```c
#ifndef PHYSDAQ_CRASHLOG_H
#define PHYSDAQ_CRASHLOG_H

#include <stddef.h>
#include <stdint.h>

/* Persist the essentials of a fatal error across the reboot it triggers, and
 * report them on the next boot. See crashlog.c for why the default halt was
 * unacceptable on this board. */

/* Call first thing in main(): captures and clears the record from the
 * previous boot before anything can clobber it. */
void crashlog_init(void);

/* "Boot: cause=... , up N s" — why the SoC last started. Always available. */
int crashlog_format_boot(char *buf, size_t len);

/* Format the previous boot's crash as one line ("Crash: ... pc=0x...") into
 * buf. Returns the length, or 0 when the previous boot did not crash. Resolve
 * pc/lr with `arm-zephyr-eabi-addr2line -e build/zephyr/zephyr.elf 0x...`. */
int crashlog_format(char *buf, size_t len);

/* Record from the starvation monitor: main has not fed the watchdog for
 * starved_ms; `thread`/`prio`/`pc` describe whoever holds the CPU. Kept in
 * noinit RAM for the boot that follows the watchdog reset. */
void crashlog_note_hang(uint32_t starved_ms, const char *stage,
			const char *main_state, const char *thread,
			int prio, uint32_t pc);

/* Previous boot's hang, as one line ("Hang: ..."), or 0 if there was none. */
int crashlog_format_hang(char *buf, size_t len);

#endif /* PHYSDAQ_CRASHLOG_H */
```

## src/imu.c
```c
#include <zephyr/drivers/sensor.h>
#include <zephyr/sys/printk.h>
#include "imu.h"

static const struct device *imu = DEVICE_DT_GET_ONE(st_lsm6dsl);

static void print_val(const char *label, struct sensor_value *val)
{
    int32_t frac = val->val2 < 0 ? -val->val2 : val->val2;
    const char *neg = (val->val1 < 0 || val->val2 < 0) ? "-" : "";
    int32_t whole = val->val1 < 0 ? -val->val1 : val->val1;
    printk("%s:%s%d.%03d ", label, neg, whole, frac / 1000);
}

int imu_init(void)
{
    if (!device_is_ready(imu)) {
        printk("IMU not ready — check wiring & overlay\n");
        return -1;
    }

    struct sensor_value odr = { .val1 = 104, .val2 = 0 };
    if (sensor_attr_set(imu, SENSOR_CHAN_ACCEL_XYZ, SENSOR_ATTR_SAMPLING_FREQUENCY, &odr) < 0 ||
        sensor_attr_set(imu, SENSOR_CHAN_GYRO_XYZ,  SENSOR_ATTR_SAMPLING_FREQUENCY, &odr) < 0) {
        printk("IMU ODR config failed\n");
        return -1;
    }

    return 0;
}

void imu_print_sample(void)
{
    struct sensor_value accel[3], gyro[3], temp;

    if (sensor_sample_fetch(imu) < 0) {
        printk("IMU fetch error\n");
        return;
    }

    sensor_channel_get(imu, SENSOR_CHAN_ACCEL_XYZ, accel);
    sensor_channel_get(imu, SENSOR_CHAN_GYRO_XYZ, gyro);
    sensor_channel_get(imu, SENSOR_CHAN_DIE_TEMP, &temp);

    print_val("AX", &accel[0]); print_val("AY", &accel[1]); print_val("AZ", &accel[2]);
    printk(" | ");
    print_val("GX", &gyro[0]);  print_val("GY", &gyro[1]);  print_val("GZ", &gyro[2]);
    printk(" | ");
    print_val("T", &temp);
    printk("\n");
}

int imu_fetch_sample(struct imu_sample *out)
{
    if (sensor_sample_fetch(imu) < 0) {
        return -1;
    }
    sensor_channel_get(imu, SENSOR_CHAN_ACCEL_XYZ, out->accel);
    sensor_channel_get(imu, SENSOR_CHAN_GYRO_XYZ,  out->gyro);
    return 0;
}
```

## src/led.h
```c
#ifndef LED_H
#define LED_H

#include <stdbool.h>

int  led_init(void);
void led_set(bool r, bool g, bool b);
void led_off(void);

#endif
```
